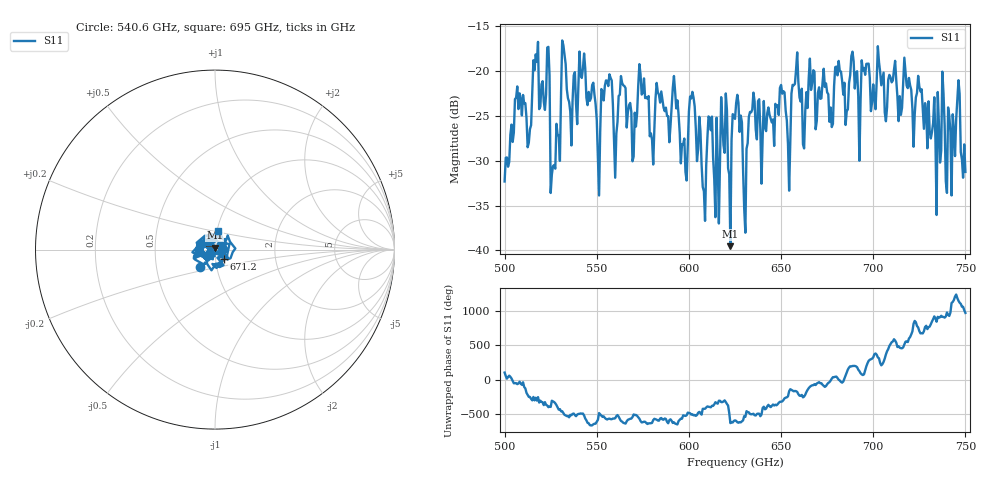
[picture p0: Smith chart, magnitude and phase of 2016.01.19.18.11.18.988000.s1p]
!Created with skrf (http://scikit-rf.org).
# GHz S RI R 50.0
!freq ReS11 ImS11
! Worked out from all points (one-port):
!   401 points, 500 GHz to 750 GHz, reference 50 ohm
!   lowest |S11| = -39.5 dB at 622.5 GHz (marker M1), VSWR 1.02, Z = 49.9 + j1.05 ohm
!   |S11| at or under -10 dB: start of sweep to end of sweep
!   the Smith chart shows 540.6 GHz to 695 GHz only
!   S11 on the Smith chart (normalised r, x): 540.6 GHz: 0.83, -0.17; 671.2 GHz: 1.09, -0.11; 695 GHz: 1.01, +0.21
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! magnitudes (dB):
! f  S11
! 500 GHz  -32.3
! 506.9 GHz  -21.7
! 513.1 GHz  -28.0
! 516.9 GHz  -18.2
! 523.1 GHz  -17.4
! 526.2 GHz  -30.6
! 531.2 GHz  -16.6
! 540.6 GHz  -17.9
! 550.6 GHz  -29.9
! 562.5 GHz  -22.7
! 593.8 GHz  -23.3
! 598.1 GHz  -31.3
! 601.9 GHz  -22.3
! 608.1 GHz  -33.4
! 611.2 GHz  -25.3
! 622.5 GHz  -39.5
! 625 GHz  -25.3
! 630.6 GHz  -38.0
! 634.4 GHz  -24.3
! 653.8 GHz  -28.2
! 656.2 GHz  -21.6
! 671.2 GHz  -23.1
! 687.5 GHz  -20.5
! 695 GHz  -19.7
! 718.8 GHz  -21.9
! 735.6 GHz  -25.8
! 746.2 GHz  -21.0
! 750 GHz  -31.3
